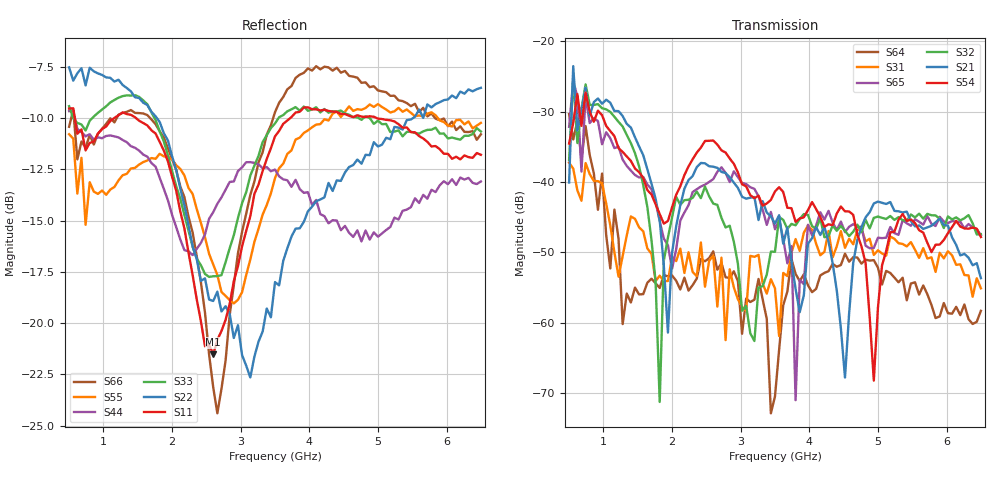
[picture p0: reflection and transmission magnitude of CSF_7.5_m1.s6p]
!Keysight Technologies,M9804A,MY58100912,A.14.10.03
!Date: Thursday, April 27, 2023 10:28:33
!Correction: S11(C  6-Port  )
!S12(C  6-Port  )
!S13(C  6-Port  )
!S14(C  6-Port  )
!S15(C  6-Port  )
!S16(C  6-Port  )
!S21(C  6-Port  )
!S22(C  6-Port  )
!S23(C  6-Port  )
!S24(C  6-Port  )
!S25(C  6-Port  )
!S26(C  6-Port  )
!S31(C  6-Port  )
!S32(C  6-Port  )
!S33(C  6-Port  )
!S34(C  6-Port  )
!S35(C  6-Port  )
!S36(C  6-Port  )
!S41(C  6-Port  )
!S42(C  6-Port  )
!S43(C  6-Port  )
!S44(C  6-Port  )
!S45(C  6-Port  )
!S46(C  6-Port  )
!S51(C  6-Port  )
!S52(C  6-Port  )
!S53(C  6-Port  )
!S54(C  6-Port  )
!S55(C  6-Port  )
!S56(C  6-Port  )
!S61(C  6-Port  )
!S62(C  6-Port  )
!S63(C  6-Port  )
!S64(C  6-Port  )
!S65(C  6-Port  )
!S66(C  6-Port  )
!S6P File: Measurement: :
# Hz S  RI  R 50
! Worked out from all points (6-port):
!   101 points, 500 MHz to 6.5 GHz, reference 50 ohm
!   strongest paths, dB at 500 MHz, 2 GHz, 3.5 GHz, 5 GHz, 6.5 GHz:
!     S54: -34.5, -43.6, -41.3, -57.9, -47.8
!     S21: -40.1, -50.0, -45.9, -42.8, -53.7
!     S32: -36.9, -45.0, -49.9, -44.9, -47.4
!     S65: -32.1, -52.3, -46.7, -47.9, -47.5
!     S31: -37.2, -50.6, -55.1, -49.7, -55.1
!     S64: -30.3, -53.3, -70.5, -52.2, -58.3
!   lowest |S11| = -21.5 dB at 2.6 GHz (marker M1), VSWR 1.18, Z = 42.5 + j1.95 ohm
!   |S11| at or under -10 dB: 583.4 MHz to 1.154 GHz (571 MHz wide, 65.7 % of centre); 1.476 GHz to 3.72 GHz (2.244 GHz wide, 86.4 % of centre); 4.987 GHz to end of sweep
